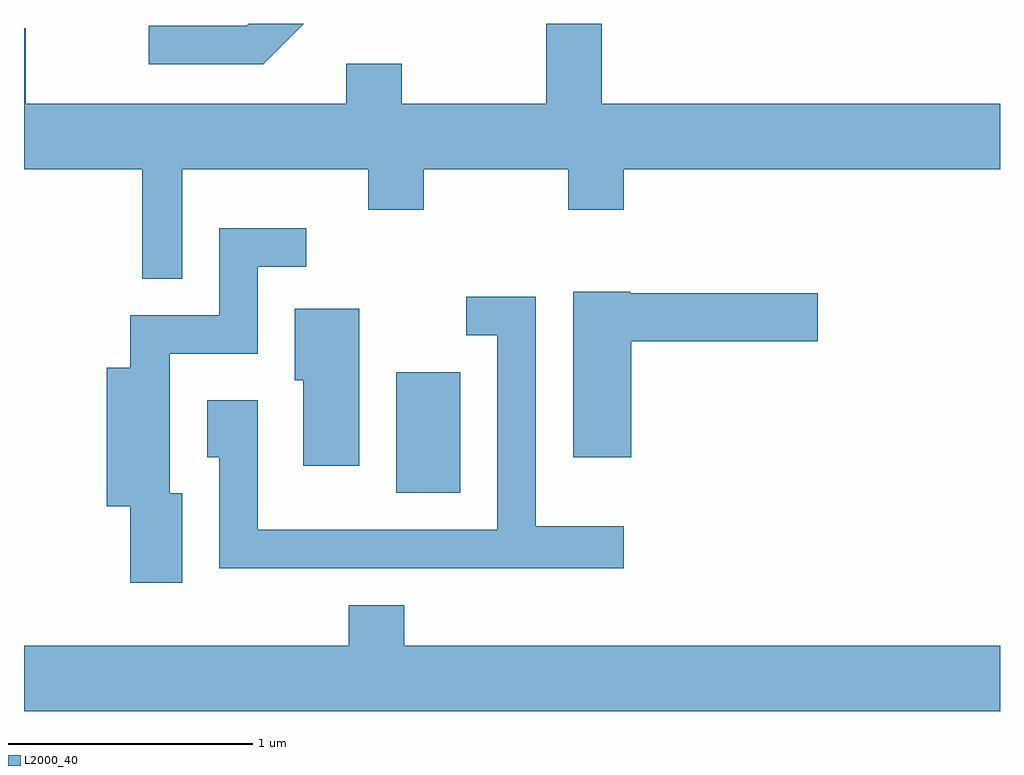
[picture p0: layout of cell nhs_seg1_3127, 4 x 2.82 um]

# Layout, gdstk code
import gdstk
lib = gdstk.Library(unit=1e-6, precision=1e-09)
def R(c, l, rs):  # rectangles x0, y0, x1, y1
    for r in rs: c.add(gdstk.rectangle(r[:2], r[2:], *l))
def P(c, l, *ps):  # polygons
    for p in ps: c.add(gdstk.Polygon(p, *l))
L2000_40 = (2000, 40)

nhs_seg1_3127 = lib.new_cell('nhs_seg1_3127')
R(nhs_seg1_3127, L2000_40, [(281.136,913.791,281.399,914.284)])
P(nhs_seg1_3127, L2000_40, [(280.259,915.116),(281.021,915.116),(281.021,914.951),(281.249,914.951),(281.249,915.116),(281.841,915.116),(281.841,914.951),(282.069,914.951),(282.069,915.116),(283.611,915.116),(283.611,915.384),(281.979,915.384),(281.979,915.712),(281.751,915.712),(281.751,915.384),(281.159,915.384),(281.159,915.549),(280.931,915.549),(280.931,915.384),(279.619,915.384),(279.619,915.694),(279.611,915.694),(279.611,915.116),(280.096,915.116),(280.096,914.668),(280.259,914.668)],
  [(280.757,915.712),(280.532,915.712),(280.524,915.704),(280.123,915.704),(280.123,915.546),(280.592,915.546)],
  [(280.259,913.789),(280.209,913.789),(280.209,914.361),(280.569,914.361),(280.569,914.716),(280.768,914.716),(280.768,914.874),(280.411,914.874),(280.411,914.519),(280.046,914.519),(280.046,914.304),(279.951,914.304),(279.951,913.736),(280.046,913.736),(280.046,913.421),(280.259,913.421)],
  [(282.099,914.411),(282.864,914.411),(282.864,914.609),(282.095,914.609),(282.095,914.614),(281.861,914.614),(281.861,913.936),(282.099,913.936)],
  [(282.069,913.654),(281.709,913.654),(281.709,914.594),(281.423,914.594),(281.423,914.436),(281.551,914.436),(281.551,913.639),(280.569,913.639),(280.569,914.169),(280.361,914.169),(280.361,913.936),(280.411,913.936),(280.411,913.481),(282.069,913.481)],
  [(280.984,914.544),(280.721,914.544),(280.721,914.251),(280.756,914.251),(280.756,913.901),(280.984,913.901)],
  [(283.611,913.164),(281.169,913.164),(281.169,913.329),(280.941,913.329),(280.941,913.164),(279.611,913.164),(279.611,912.896),(283.611,912.896)])

lib.write_gds('nhs_seg1_3127.gds')
